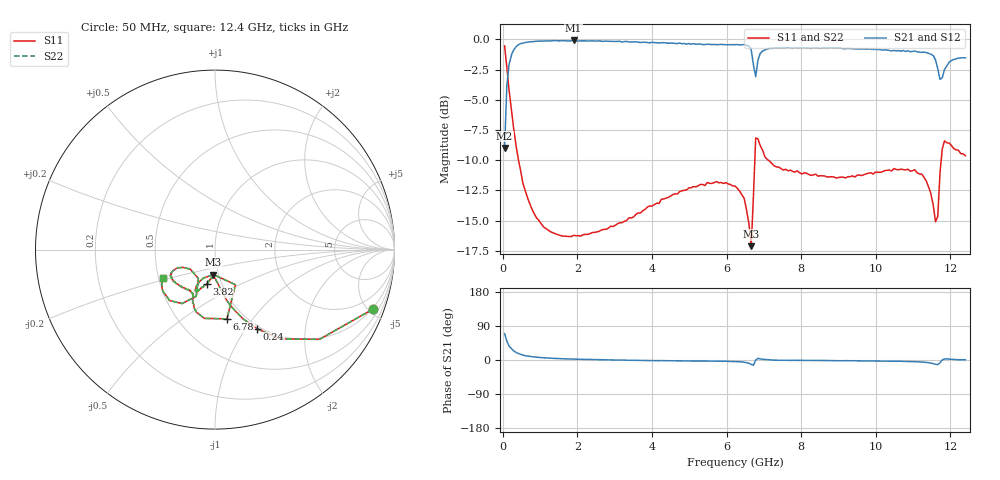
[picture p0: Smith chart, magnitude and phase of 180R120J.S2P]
!  American Technical Ceramics  Date:  3/13/98
!  One Norden Lane
!  Huntington Station,  NY.  11746-2102
!  Tel:  (516) 547-5700  Fax:  (516) 547-5748
!  Part Number  180r120j
!  Description: Porcelain, High Q, Low ESR
!  Application: Bypass, Coupling, Timing, Feedback
!  Tuning, Impedance Match, Blocking
# GHZ S DB R 50
! Freq  |S11|  S11 Ph  |S21|  S21 Ph  |S12|  S12 Ph  |S22|  S22 Ph
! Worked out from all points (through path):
!   201 points, 50 MHz to 12.4 GHz, reference 50 ohm
!   highest |S21| = -0.08 dB at 1.9 GHz (marker M1); lowest = -9.0 dB at 50 MHz (marker M2)
!   group delay of S21, straight-line fit = 3.26 ps
!   lowest |S11| = -17.1 dB at 6.66 GHz (marker M3), VSWR 1.32, Z = 47.3 - j13.4 ohm
!   |S11| at or under -10 dB: 422.6 MHz to 6.757 GHz (6.334 GHz wide, 176 % of centre); 7.118 GHz to 11.75 GHz (4.634 GHz wide, 49.1 % of centre)
!   |S22| runs from -17.1 to -0.5 dB; largest |S21 - S12| = 0
!   S11 on the Smith chart (normalised r, x): 50 MHz: 0.93, -5.34; 240 MHz: 0.96, -1.13; 3.82 GHz: 0.85, -0.34; 6.78 GHz: 0.83, -0.76; 12.4 GHz: 0.53, -0.19
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0.05  -0.53 -20.6  -8.99 69.6  -8.99 69.6  -0.53 -20.6
0.11  -2.30 -40.7  -3.82 49.4  -3.82 49.4  -2.30 -40.7
0.24  -6.02 -61.9  -1.21 29.2  -1.21 29.2  -6.02 -61.9
0.42  -9.96 -75.0  -0.43 17.0  -0.43 17.0  -9.96 -75.0
0.85  -14.47 -85.4  -0.16 7.9  -0.16 7.9  -14.47 -85.4
1.9  -16.23 -93.8  -0.08 2.4  -0.08 2.4  -16.23 -93.8
2.15  -16.17 -95.0  -0.11 1.8  -0.11 1.8  -16.17 -95.0
3.82  -14.06 -103.5  -0.23 -1.3  -0.23 -1.3  -14.06 -103.5
4.19  -13.58 -106.7  -0.29 -1.8  -0.29 -1.8  -13.58 -106.7
6.23  -12.15 -115.8  -0.43 -4.2  -0.43 -4.2  -12.15 -115.8
6.47  -13.15 -116.5  -0.42 -5.9  -0.42 -5.9  -13.15 -116.5
6.66  -17.12 -93.5  -0.85 -11.4  -0.85 -11.4  -17.12 -93.5
6.72  -12.90 -59.8  -2.13 -14.0  -2.13 -14.0  -12.90 -59.8
6.78  -8.15 -80.2  -3.08 0.0  -3.08 0.0  -8.15 -80.2
6.97  -9.21 -109.5  -0.94 1.8  -0.94 1.8  -9.21 -109.5
8.32  -11.22 -117.1  -0.68 -1.1  -0.68 -1.1  -11.22 -117.1
10.36  -10.81 -140.5  -0.90 -3.3  -0.90 -3.3  -10.81 -140.5
11.23  -11.15 -152.0  -1.06 -5.6  -1.06 -5.6  -11.15 -152.0
11.6  -15.10 -141.8  -1.70 -11.2  -1.70 -11.2  -15.10 -141.8
11.72  -11.04 -111.9  -3.31 -7.4  -3.31 -7.4  -11.04 -111.9
11.84  -8.40 -131.8  -2.49 2.6  -2.49 2.6  -8.40 -131.8
12.4  -9.63 -151.4  -1.52 0.8  -1.52 0.8  -9.63 -151.4
